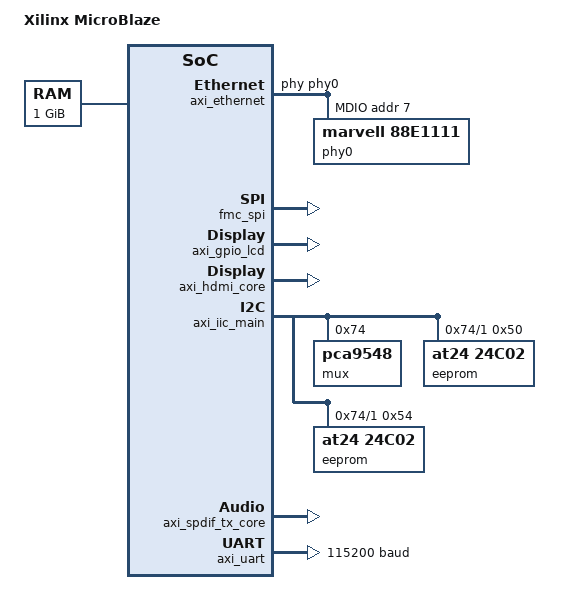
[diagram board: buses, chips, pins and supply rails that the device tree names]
/dts-v1/;
/{
	chosen {
		bootargs = "console=ttyUL0,115200";
		linux,stdout-path = &axi_uart;
	} ;
	aliases {
		ethernet0 = &axi_ethernet;
		serial0 = &axi_uart;
		//serial1 = &sys_mb_debug;
	} ;
	axi_ddr_cntrl: memory@80000000 {
		device_type = "memory";
		reg = <0x80000000 0x40000000>;
	} ;
};

/{
	#address-cells = <1>;
	#size-cells = <1>;
	compatible = "xlnx,microblaze";
	model = "Xilinx MicroBlaze";
	cpus {
		#address-cells = <1>;
		#cpus = <0x1>;
		#size-cells = <0>;
		sys_mb: cpu@0 {
			bus-handle = <&axi_cpu_interconnect_xbar>;
			clock-frequency = <99000000>;
			clocks = <&clk_cpu>;
			compatible = "xlnx,microblaze-9.3";
			d-cache-baseaddr = <0x80000000>;
			d-cache-highaddr = <0xbfffffff>;
			d-cache-line-size = <0x10>;
			d-cache-size = <0x4000>;
			device_type = "cpu";
			i-cache-baseaddr = <0x80000000>;
			i-cache-highaddr = <0xbfffffff>;
			i-cache-line-size = <0x20>;
			i-cache-size = <0x4000>;
			interrupt-handle = <&axi_intc>;
			model = "microblaze,9.3";
			timebase-frequency = <99000000>;
			xlnx,addr-tag-bits = <0x10>;
			xlnx,allow-dcache-wr = <0x1>;
			xlnx,allow-icache-wr = <0x1>;
			xlnx,area-optimized = <0x0>;
			xlnx,async-interrupt = <0x1>;
			xlnx,avoid-primitives = <0x0>;
			xlnx,base-vectors = <0x00000000>;
			xlnx,branch-target-cache-size = <0x0>;
			xlnx,cache-byte-size = <0x4000>;
			xlnx,d-axi = <0x1>;
			xlnx,d-lmb = <0x1>;
			xlnx,data-size = <0x20>;
			xlnx,dcache-addr-tag = <0x10>;
			xlnx,dcache-always-used = <0x1>;
			xlnx,dcache-byte-size = <0x4000>;
			xlnx,dcache-data-width = <0x0>;
			xlnx,dcache-force-tag-lutram = <0x0>;
			xlnx,dcache-line-len = <0x4>;
			xlnx,dcache-use-writeback = <0x0>;
			xlnx,dcache-victims = <0x8>;
			xlnx,debug-counter-width = <0x20>;
			xlnx,debug-enabled = <0x1>;
			xlnx,debug-event-counters = <0x5>;
			xlnx,debug-latency-counters = <0x1>;
			xlnx,debug-profile-size = <0x0>;
			xlnx,debug-trace-size = <0x2000>;
			xlnx,div-zero-exception = <0x1>;
			xlnx,dynamic-bus-sizing = <0x0>;
			xlnx,ecc-use-ce-exception = <0x0>;
			xlnx,edge-is-positive = <0x0>;
			xlnx,enable-discrete-ports = <0x0>;
			xlnx,endianness = <0x1>;
			xlnx,fault-tolerant = <0x0>;
			xlnx,fpu-exception = <0x0>;
			xlnx,freq = <0x5e69ec0>;
			xlnx,fsl-exception = <0x0>;
			xlnx,fsl-links = <0x0>;
			xlnx,i-axi = <0x0>;
			xlnx,i-lmb = <0x1>;
			xlnx,icache-always-used = <0x1>;
			xlnx,icache-data-width = <0x0>;
			xlnx,icache-force-tag-lutram = <0x0>;
			xlnx,icache-line-len = <0x8>;
			xlnx,icache-streams = <0x1>;
			xlnx,icache-victims = <0x8>;
			xlnx,ill-opcode-exception = <0x1>;
			xlnx,interconnect = <0x2>;
			xlnx,interrupt-is-edge = <0x0>;
			xlnx,lockstep-select = <0x0>;
			xlnx,lockstep-slave = <0x0>;
			xlnx,mmu-dtlb-size = <0x4>;
			xlnx,mmu-itlb-size = <0x2>;
			xlnx,mmu-privileged-instr = <0x0>;
			xlnx,mmu-tlb-access = <0x3>;
			xlnx,mmu-zones = <0x2>;
			xlnx,number-of-pc-brk = <0x1>;
			xlnx,number-of-rd-addr-brk = <0x0>;
			xlnx,number-of-wr-addr-brk = <0x0>;
			xlnx,opcode-0x0-illegal = <0x1>;
			xlnx,optimization = <0x0>;
			xlnx,pc-width = <0x20>;
			xlnx,pvr = <0x2>;
			xlnx,pvr-user1 = <0x00>;
			xlnx,pvr-user2 = <0x00000000>;
			xlnx,reset-msr = <0x00000000>;
			xlnx,sco = <0x0>;
			xlnx,trace = <0x0>;
			xlnx,unaligned-exceptions = <0x1>;
			xlnx,use-barrel = <0x1>;
			xlnx,use-branch-target-cache = <0x0>;
			xlnx,use-config-reset = <0x0>;
			xlnx,use-dcache = <0x1>;
			xlnx,use-div = <0x1>;
			xlnx,use-ext-brk = <0x0>;
			xlnx,use-ext-nm-brk = <0x0>;
			xlnx,use-extended-fsl-instr = <0x0>;
			xlnx,use-fpu = <0x0>;
			xlnx,use-hw-mul = <0x2>;
			xlnx,use-icache = <0x1>;
			xlnx,use-interrupt = <0x1>;
			xlnx,use-mmu = <0x3>;
			xlnx,use-msr-instr = <0x1>;
			xlnx,use-pcmp-instr = <0x1>;
			xlnx,use-reorder-instr = <0x1>;
			xlnx,use-stack-protection = <0x0>;
		} ;
	} ;
	clocks {
		#address-cells = <1>;
		#size-cells = <0>;
		clk_bus_0: clk_bus_0@1 {
			#clock-cells = <0>;
			clock-frequency = <99000000>;
			clock-output-names = "clk_bus_0";
			compatible = "fixed-clock";
			reg = <1>;
		} ;
		clk_cpu: clk_cpu@0 {
			#clock-cells = <0>;
			clock-frequency = <99000000>;
			clock-output-names = "clk_cpu";
			compatible = "fixed-clock";
			reg = <0>;
		} ;
	} ;
	axi_cpu_interconnect_xbar: axi@0 {
		#address-cells = <1>;
		#size-cells = <1>;
		compatible = "xlnx,axi-crossbar-2.1", "simple-bus";
		ranges ;

		axi_ethernet: network@40e00000 {
			compatible = "xlnx,xps-ethernetlite-1.00.a";
			device_type = "network";
			interrupt-parent = <&axi_intc>;
			interrupts = <1 0>;
			local-mac-address = [00 0a 35 00 00 10];
			reg = <0x40e00000 0x2000>;
			phy-handle = <&phy0>;
			xlnx,duplex = <0x1>;
			xlnx,include-global-buffers = <0x1>;
			xlnx,include-internal-loopback = <0x0>;
			xlnx,include-mdio = <0x1>;
			xlnx,rx-ping-pong = <0x1>;
			xlnx,s-axi-id-width = <0x1>;
			xlnx,tx-ping-pong = <0x1>;
			xlnx,use-internal = <0x0>;
			mdio {
				#address-cells = <1>;
				#size-cells = <0>;
				phy0: phy@7 {
					compatible = "marvell,88e1111";
					device_type = "ethernet-phy";
					reg = <7>;
				} ;
			} ;
		} ;
		fmc_spi: axi-quad-spi@44a70000 {
			#address-cells = <1>;
			#size-cells = <0>;
			compatible = "xlnx,xps-spi-2.00.a";
			interrupt-parent = <&axi_intc>;
			interrupts = <13 0>;
			reg = <0x44a70000 0x10000>;
			num-cs = <0x1>;
		} ;

		rx_dma0: rx-dmac-0@7c420000 {
			compatible = "adi,axi-dmac-1.00.a";
			reg = <0x7c420000 0x10000>;
			#dma-cells = <1>;
			interrupt-parent = <&axi_intc>;
			interrupts = <10 2>;
			clocks = <&clk_bus_0>;
	
			dma-channel {
				adi,buswidth = <64>;
				adi,type = <0>;
			};
		};
	
		rx_dma1: rx-dmac-1@7c430000 {
			compatible = "adi,axi-dmac-1.00.a";
			reg = <0x7c430000 0x10000>;
			#dma-cells = <1>;
			interrupt-parent = <&axi_intc>;
			interrupts = <11 2>;
			clocks = <&clk_bus_0>;
	
			dma-channel {
				adi,buswidth = <64>;
				adi,type = <0>;
			};
		};
	
		axi_ad9250_core0: axi-ad9250-hpc-0@44a10000 {
			compatible = "xlnx,axi-ad9250-1.00.a";
			reg = < 0x44a10000 0x10000 >;
			dmas = <&rx_dma0 0>;
			dma-names = "rx";
			spibus-connected = <&adc0_ad9250>;
	
			xlnx,pcore-device-type = <0x0>;
			xlnx,pcore-id = <0x0>;
			xlnx,pcore-iodelay-group = "adc_if_delay_group";
			xlnx,s-axi-min-size = <0xffff>;
		} ;
	
		axi_ad9250_core1: axi-ad9250-hpc-1@44a20000 {
			compatible = "xlnx,axi-ad9250-1.00.a";
			reg = < 0x44a20000 0x10000 >;
			dmas = <&rx_dma1 0>;
			dma-names = "rx";
			spibus-connected = <&adc1_ad9250>;
	
			xlnx,pcore-device-type = <0x0>;
			xlnx,pcore-id = <0x0>;
			xlnx,pcore-iodelay-group = "adc_if_delay_group";
			xlnx,s-axi-min-size = <0xffff>;
		} ;
	
		axi_jesd: axi-jesd204b-rx@44a91000 {
			#clock-cells = <0>;
			compatible = "xlnx,jesd204-5.1";
			reg = < 0x44a91000 0x1000 >;
	
			clocks = <&axi_jesd_gt 0>;
			clock-names = "adc_gt_clk";
			clock-output-names = "jesd_adc_clk";
	
			xlnx,gt-line-rate = "8.0";
			xlnx,gt-refclk-freq = "200.0";
	
			xlnx,lanes = <4>;
			xlnx,frames-per-multiframe = <32>;
			xlnx,bytes-per-frame = <2>;
			xlnx,subclass = <1>;
			xlnx,lanesync-enable;
			xlnx,scramble-enable;
			xlnx,sysref-enable;
	
			xlnx,lmfc-buffer-size = <0x6>;
			xlnx,node-is-transmit = <0x0>;
			xlnx,speedgrade = <0xfffffffe>;
			xlnx,supportlevel = <0x0>;
			xlnx,transceiver = "GTXE2";
			xlnx,transceivercontrol = "false";
			xlnx,use-bram = <0x1>;
			xlnx,use-jspat = "false";
			xlnx,use-rpat = "false";
		} ;
	
		axi_jesd_gt: axi-jesd-gt-rx-tx@44a60000 {
			#clock-cells = <1>;
			compatible = "xlnx,axi-jesd-gt-1.0";
			reg = < 0x44a60000 0x10000 >;
	
			clocks = <&clk_ad9517 0>;
			clock-names = "adc_clk";
			clock-output-names = "adc_gt_clk";
	
			adi,rx-sys-clk-select = <0>;
			adi,rx-out-clk-select = <2>;
			adi,use-cpll-enable;
	
			xlnx,pcore-cpll-fbdiv = <0x2>;
			xlnx,pcore-device-type = <0x0>;
			xlnx,pcore-id = <0x0>;
			xlnx,pcore-num-of-lanes = <0x4>;
			xlnx,pcore-pma-rsv = <0x1e7080>;
			xlnx,pcore-qpll-cfg = "000011010000000000110000001";
			xlnx,pcore-qpll-fbdiv = <0x9000>;
			xlnx,pcore-qpll-fbdiv-ratio = <0x1>;
			xlnx,pcore-qpll-refclk-div = <0x1>;
			xlnx,pcore-rx-cdr-cfg = "0x0B000023FF10400020";
			xlnx,pcore-rx-clk25-div = <0x14>;
			xlnx,pcore-rx-out-div = <0x1>;
			xlnx,pcore-tx-clk25-div = <0x14>;
			xlnx,pcore-tx-out-div = <0x1>;
			xlnx,s-axi-min-size = <0xffff>;
		} ;

		axi_gpio_lcd: gpio_lcd@40010000 {
			#gpio-cells = <2>;
			compatible = "xlnx,axi-xlnx-lcd-1.00.a";
			gpio-controller ;
			interrupt-parent = <&axi_intc>;
			interrupts = <5 2>;
			reg = <0x40010000 0x10000>;
			xlnx,all-inputs = <0x0>;
			xlnx,all-inputs-2 = <0x0>;
			xlnx,all-outputs = <0x1>;
			xlnx,all-outputs-2 = <0x0>;
			xlnx,dout-default = <0x00000000>;
			xlnx,dout-default-2 = <0x00000000>;
			xlnx,gpio-width = <0x7>;
			xlnx,gpio2-width = <0x20>;
			xlnx,interrupt-present = <0x1>;
			xlnx,is-dual = <0x0>;
			xlnx,tri-default = <0xFFFFFFFF>;
			xlnx,tri-default-2 = <0xFFFFFFFF>;
		} ;
		axi_gpio_sw_led: gpio@40020000 {
			#gpio-cells = <2>;
			compatible = "xlnx,xps-gpio-1.00.a";
			gpio-controller ;
			interrupt-parent = <&axi_intc>;
			interrupts = <6 2>;
			reg = <0x40020000 0x10000>;
			xlnx,all-inputs = <0x1>;
			xlnx,all-inputs-2 = <0x0>;
			xlnx,all-outputs = <0x0>;
			xlnx,all-outputs-2 = <0x1>;
			xlnx,dout-default = <0x00000000>;
			xlnx,dout-default-2 = <0x00000000>;
			xlnx,gpio-width = <0xd>;
			xlnx,gpio2-width = <0x8>;
			xlnx,interrupt-present = <0x1>;
			xlnx,is-dual = <0x1>;
			xlnx,tri-default = <0xFFFFFFFF>;
			xlnx,tri-default-2 = <0xFFFFFFFF>;
		} ;
		axi_hdmi_clkgen: axi-clkgen@79000000 {
			compatible = "adi,axi-clkgen-1.0";
			reg = <0x79000000 0x10000>;
			adi,s-axi-min-size = <0x0000FFFF>;
		} ;
		axi_hdmi_core: axi-hdmi-tx@70e00000 {
			compatible = "adi,axi-hdmi-tx-1.0";
			reg = <0x70e00000 0x10000>;
			adi,s-axi-min-size = <0x0000FFFF>;
		} ;
		axi_hdmi_dma: axi-vdma@43000000 {
			compatible = "xlnx,axi-vdma";
			interrupt-parent = <&axi_intc>;
			interrupts = <8 2>;
			reg = <0x43000000 0x10000>;
			xlnx,flush-fsync = <0x1>;
			xlnx,num-fstores = <0x3>;
			dma-channel@43000000 {
				compatible = "xlnx,axi-vdma-mm2s-channel";
				interrupts = <8 2>;
				xlnx,datawidth = <0x40>;
				xlnx,device-id = <0x0>;
				xlnx,genlock-mode ;
			} ;
		} ;
		axi_iic_main: axi-iic@41600000 {
			#address-cells = <1>;
			#size-cells = <0>;
			compatible = "xlnx,xps-iic-2.00.a";
			interrupt-parent = <&axi_intc>;
			interrupts = <9 2>;
			reg = <0x41600000 0x10000>;

			mux@74 {
				#address-cells = <1>;
				#size-cells = <0>;
				compatible = "pca9548";
				reg = <0x74>;

				fmc_i2c: i2c@1 { /* HPC */
					#size-cells = <0>;
					#address-cells = <1>;
					reg = <1>;
					eeprom@50 {
						compatible = "at24,24c02";
						reg = <0x50>;
					};

					eeprom@54 {
						compatible = "at24,24c02";
						reg = <0x54>;
					};
				};

				mux2: i2c@2 { /* LPC */
					#size-cells = <0>;
					#address-cells = <1>;
					reg = <2>;


				};
			};
		
		} ;
		axi_intc: axi-intc@41200000 {
			#interrupt-cells = <2>;
			compatible = "xlnx,xps-intc-1.00.a";
			interrupt-controller ;
			reg = <0x41200000 0x10000>;
			xlnx,kind-of-intr = <0x0000201e>;
			xlnx,num-intr-inputs = <32>;
		} ;
		axi_spdif_tx_core: axi-spdif-tx@75c00000 {
			compatible = "adi,axi-spdif-tx-1.0";
			reg = <0x75c00000 0x10000>;
			adi,dma-type = <0x0>;
		} ;
		axi_spdif_tx_dma: axi-dma@41e00000 {
			compatible = "xlnx,axi-dma";
			interrupt-parent = <&axi_intc>;
			interrupts = <7 2>;
			reg = <0x41e00000 0x10000>;
			xlnx,include-sg ;
			dma-channel@41e00000 {
				compatible = "xlnx,axi-dma-mm2s-channel";
				interrupts = <7 2>;
				xlnx,datawidth = <0x20>;
				xlnx,device-id = <0x1>;
			} ;
		} ;
		axi_timer: axi-timer@41c00000 {
			clock-frequency = <99000000>;
			clocks = <&clk_bus_0>;
			compatible = "xlnx,xps-timer-1.00.a";
			interrupt-parent = <&axi_intc>;
			interrupts = <0 2>;
			reg = <0x41c00000 0x10000>;
			xlnx,count-width = <0x20>;
			xlnx,gen0-assert = <0x1>;
			xlnx,gen1-assert = <0x1>;
			xlnx,one-timer-only = <0x0>;
			xlnx,trig0-assert = <0x1>;
			xlnx,trig1-assert = <0x1>;
		} ;
		axi_uart: serial@40600000 {
			clock-frequency = <0x5f5e100>;
			clocks = <&clk_bus_0>;
			compatible = "xlnx,xps-uartlite-1.00.a";
			current-speed = <115200>;
			device_type = "serial";
			interrupt-parent = <&axi_intc>;
			interrupts = <4 0>;
			port-number = <0>;
			reg = <0x40600000 0x10000>;
			xlnx,baudrate = <0x1c200>;
			xlnx,data-bits = <0x8>;
			xlnx,odd-parity = <0x0>;
			xlnx,s-axi-aclk-freq-hz-d = <0x64>;
			xlnx,use-parity = <0x0>;
		} ;
/*
		sys_mb_debug: serial@41400000 {
			clock-frequency = <0x5f5e100>;
			clocks = <&clk_bus_0>;
			compatible = "xlnx,xps-uartlite-1.00.a";
			current-speed = <115200>;
			device_type = "serial";
			interrupt-parent = <&axi_intc>;
			//interrupts = <-1 0>;
			port-number = <1>;
			reg = <0x41400000 0x1000>;
			xlnx,brk = <0x0>;
			xlnx,data-size = <0x20>;
			xlnx,dbg-mem-access = <0x0>;
			xlnx,dbg-reg-access = <0x0>;
			xlnx,interconnect = <0x2>;
			xlnx,jtag-chain = <0x2>;
			xlnx,mb-dbg-ports = <0x1>;
			xlnx,trig-in-ports = <0x1>;
			xlnx,trig-out-ports = <0x1>;
			xlnx,use-bscan = <0x0>;
			xlnx,use-config-reset = <0x0>;
			xlnx,use-cross-trigger = <0x0>;
			xlnx,use-uart = <0x1>;
			xlnx,xmtc = <0x0>;
		} ;
*/
	} ;

} ;

#include "adi-fmcjesdadc1.dtsi"
